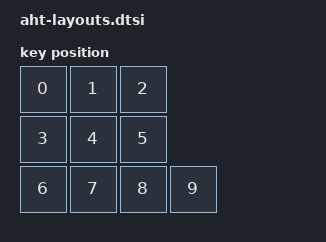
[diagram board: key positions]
#include <physical_layouts.dtsi>

/ {
    physical_layout_aht: physical_layout_aht {
        compatible = "zmk,physical-layout";
        display-name = "aht";
        keys  //                     w   h    x    y     rot    rx    ry
            = <&key_physical_attrs 100 100    0    0       0     0     0>
            , <&key_physical_attrs 100 100  100    0       0     0     0>
            , <&key_physical_attrs 100 100  200    0       0     0     0>
            , <&key_physical_attrs 100 100    0  100       0     0     0>
            , <&key_physical_attrs 100 100  100  100       0     0     0>
            , <&key_physical_attrs 100 100  200  100       0     0     0>
            , <&key_physical_attrs 100 100    0  200       0     0     0>
            , <&key_physical_attrs 100 100  100  200       0     0     0>
            , <&key_physical_attrs 100 100  200  200       0     0     0>
            , <&key_physical_attrs 100 100  300  200       0     0     0>
            ;
    };
};
